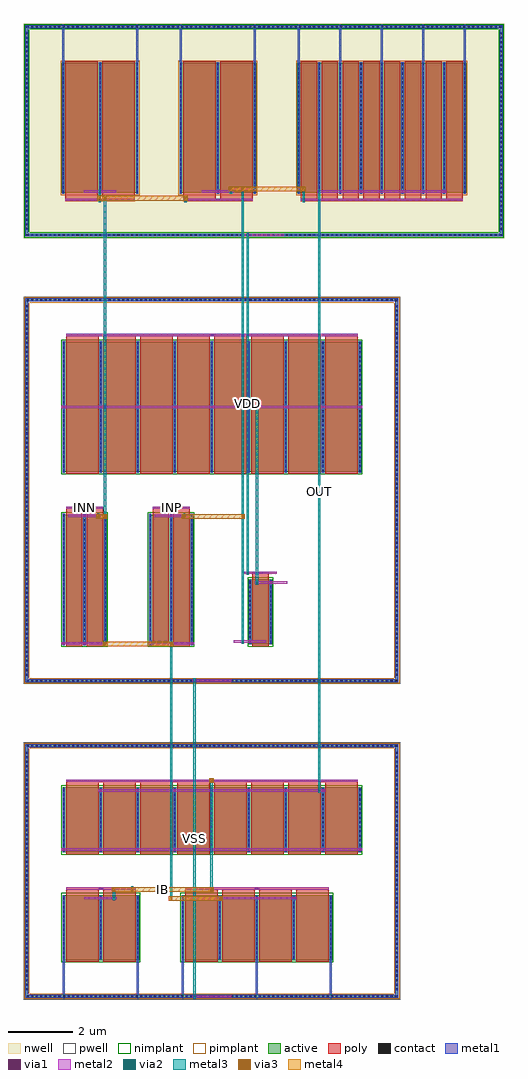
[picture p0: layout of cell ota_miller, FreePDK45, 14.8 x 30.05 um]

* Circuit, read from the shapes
.subckt ota_miller IB INN INP OUT VDD VSS
M1 IB IB VSS VSS nfet w=2u l=1u m=2
M2 OUT IB VSS VSS nfet w=2u l=1u m=8
M3 n1 INN n2 VSS nfet w=4u l=0.5u m=2
M4 n3 OUT n3 VSS nfet w=4u l=1u m=8
M5 n4 INP n2 VSS nfet w=4u l=0.5u m=2
M6 n2 IB VSS VSS nfet w=2u l=1u m=4
M7 n3 VDD n4 VSS nfet w=2u l=0.5u
M8 n1 n1 VDD VDD pfet w=4u l=1u m=2
M9 n4 n1 VDD VDD pfet w=4u l=1u m=2
M10 OUT n4 VDD VDD pfet w=4u l=0.5u m=8
.ends

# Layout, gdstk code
import gdstk
lib = gdstk.Library(unit=1e-6, precision=5e-10)
def R(c, l, rs):  # rectangles x0, y0, x1, y1
    for r in rs: c.add(gdstk.rectangle(r[:2], r[2:], *l))
def A(c, l, x, y, w, h, nx, ny, dx, dy):  # array of equal rectangles
    R(c, l, [(x+i*dx, y+j*dy, x+i*dx+w, y+j*dy+h) for i in range(nx) for j in range(ny)])
active = (1, 0)
pwell = (2, 0)
nwell = (3, 0)
nimplant = (4, 0)
pimplant = (5, 0)
poly = (9, 0)
contact = (10, 0)
metal1 = (11, 0)
via1 = (12, 0)
metal2 = (13, 0)
via2 = (14, 0)
metal3 = (15, 0)
via3 = (16, 0)
metal4 = (17, 0)

ota_miller = lib.new_cell('ota_miller')
R(ota_miller, active, [(-1.09,-1.09,10.395,-1), (-1.09,-1,-1,6.625), (10.305,-1,10.395,6.625), (0.055,0.07,2.41,2.07), (3.72,0.07,8.355,2.07), (0.055,3.385,9.25,5.385), (-1.09,6.625,10.395,6.715), (-1.09,8.625,10.395,8.715), (-1.09,8.715,-1,20.345), (10.305,8.715,10.395,20.345), (0.055,9.785,1.41,13.785), (2.72,9.785,4.075,13.785), (5.79,9.785,6.505,11.785), (0.055,15.1,9.25,19.1), (-1.09,20.345,10.395,20.435), (-1.09,22.345,13.605,22.435), (-1.09,22.435,-1,28.755), (13.515,22.435,13.605,28.755), (0.035,23.685,2.39,27.685), (3.66,23.685,6.015,27.685), (7.285,23.685,12.48,27.685), (-1.09,28.755,13.605,28.845)])
R(ota_miller, pwell, [(-1.145,-1.145,10.45,6.77), (0,0.015,2.465,2.125), (3.665,0.015,8.41,2.125), (0,3.33,9.305,5.44), (-1.145,8.57,10.45,20.49), (0,9.73,1.465,13.84), (2.665,9.73,4.13,13.84), (5.735,9.73,6.56,11.84), (0,15.045,9.305,19.155)])
R(ota_miller, nwell, [(-1.145,22.29,13.66,28.9)])
R(ota_miller, nimplant, [(0.02,0,2.445,2.14), (3.685,0,8.39,2.14), (0.02,3.315,9.285,5.455), (0.02,9.715,1.445,13.855), (2.685,9.715,4.11,13.855), (5.755,9.715,6.54,11.855), (0.02,15.03,9.285,19.17), (-1.125,22.31,13.64,22.47), (-1.125,22.4,-0.965,28.79), (13.48,22.4,13.64,28.79), (-1.125,28.72,13.64,28.88)])
R(ota_miller, pimplant, [(-1.125,-1.125,10.43,-0.965), (-1.125,-1.035,-0.965,6.66), (10.27,-1.035,10.43,6.66), (-1.125,6.59,10.43,6.75), (-1.125,8.59,10.43,8.75), (-1.125,8.68,-0.965,20.38), (10.27,8.68,10.43,20.38), (-1.125,20.31,10.43,20.47), (0,23.615,2.425,27.755), (3.625,23.615,6.05,27.755), (7.25,23.615,12.515,27.755)])
A(ota_miller, poly, 3.83, 0.015, 1, 2.11, 4, 1, 1.14, 0)
A(ota_miller, poly, 3.83, 0.015, 1, 2.265, 4, 1, 1.14, 0)
A(ota_miller, poly, 0.165, 3.33, 1, 2.11, 8, 1, 1.14, 0)
A(ota_miller, poly, 0.165, 3.33, 1, 2.26, 8, 1, 1.14, 0)
A(ota_miller, poly, 0.165, 15.045, 1, 4.11, 8, 1, 1.14, 0)
A(ota_miller, poly, 0.165, 15.045, 1, 4.265, 8, 1, 1.14, 0)
A(ota_miller, poly, 7.395, 23.475, 0.5, 4.265, 8, 1, 0.64, 0)
A(ota_miller, poly, 7.395, 23.63, 0.5, 4.11, 8, 1, 0.64, 0)
R(ota_miller, poly, [(0.165,0.015,1.165,2.125), (0.165,0.015,1.165,2.28), (1.305,0.015,2.305,2.125), (1.305,0.015,2.305,2.28), (0.165,2.24,2.305,2.315), (1.195,2.24,1.27,2.315), (3.83,2.24,8.25,2.315), (6,2.24,6.075,2.315), (0.165,5.55,9.145,5.625), (4.615,5.55,4.69,5.625), (0.165,9.73,0.665,13.84), (0.165,9.73,0.665,13.99), (0.805,9.73,1.305,13.84), (0.805,9.73,1.305,13.99), (2.83,9.73,3.33,13.84), (2.83,9.73,3.33,13.99), (3.47,9.73,3.97,13.84), (3.47,9.73,3.97,13.99), (5.9,9.73,6.4,11.84), (5.9,9.73,6.4,11.99), (5.9,11.95,6.4,12.025), (6.11,11.95,6.185,12.025), (0.165,13.95,1.305,14.025), (0.695,13.95,0.77,14.025), (2.83,13.95,3.97,14.025), (3.36,13.95,3.435,14.025), (0.165,19.27,9.145,19.345), (4.615,19.27,4.69,19.345), (0.145,23.435,2.285,23.51), (1.175,23.435,1.25,23.51), (3.77,23.435,5.91,23.51), (4.8,23.435,4.875,23.51), (7.395,23.435,12.375,23.51), (9.845,23.435,9.92,23.51), (0.145,23.475,1.145,27.74), (1.285,23.475,2.285,27.74), (3.77,23.475,4.77,27.74), (4.91,23.475,5.91,27.74), (0.145,23.63,1.145,27.74), (1.285,23.63,2.285,27.74), (3.77,23.63,4.77,27.74), (4.91,23.63,5.91,27.74)])
A(ota_miller, contact, -1.05, -1.08, 0.065, 0.065, 82, 2, 0.14, 7.715)
A(ota_miller, contact, -1.08, -0.86, 0.065, 0.065, 1, 53, 0, 0.14)
A(ota_miller, contact, 10.315, -0.86, 0.065, 0.065, 1, 53, 0, 0.14)
A(ota_miller, contact, 0.06, 0.125, 0.065, 0.065, 3, 14, 1.14, 0.14)
A(ota_miller, contact, 3.725, 0.125, 0.065, 0.065, 5, 14, 1.14, 0.14)
A(ota_miller, contact, 0.06, 3.44, 0.065, 0.065, 9, 14, 1.14, 0.14)
A(ota_miller, contact, -1.05, 8.635, 0.065, 0.065, 82, 2, 0.14, 11.72)
A(ota_miller, contact, -1.08, 8.825, 0.065, 0.065, 1, 82, 0, 0.14)
A(ota_miller, contact, 10.315, 8.825, 0.065, 0.065, 1, 82, 0, 0.14)
A(ota_miller, contact, 0.06, 9.79, 0.065, 0.065, 3, 29, 0.64, 0.14)
A(ota_miller, contact, 2.725, 9.79, 0.065, 0.065, 3, 29, 0.64, 0.14)
A(ota_miller, contact, 5.795, 9.84, 0.065, 0.065, 1, 14, 0, 0.14)
A(ota_miller, contact, 6.435, 9.84, 0.065, 0.065, 1, 14, 0, 0.14)
A(ota_miller, contact, 0.06, 15.105, 0.065, 0.065, 9, 29, 1.14, 0.14)
A(ota_miller, contact, -1.055, 22.355, 0.065, 0.065, 105, 2, 0.14, 6.41)
A(ota_miller, contact, -1.08, 22.55, 0.065, 0.065, 1, 44, 0, 0.14)
A(ota_miller, contact, 13.525, 22.55, 0.065, 0.065, 1, 44, 0, 0.14)
A(ota_miller, contact, 0.04, 23.69, 0.065, 0.065, 3, 29, 1.14, 0.14)
A(ota_miller, contact, 3.665, 23.69, 0.065, 0.065, 3, 29, 1.14, 0.14)
A(ota_miller, contact, 7.29, 23.69, 0.065, 0.065, 9, 29, 0.64, 0.14)
R(ota_miller, contact, [(1.2,2.245,1.265,2.31), (6.005,2.245,6.07,2.31), (4.62,5.555,4.685,5.62), (6.115,11.955,6.18,12.02), (0.7,13.955,0.765,14.02), (3.365,13.955,3.43,14.02), (4.62,19.275,4.685,19.34), (1.18,23.44,1.245,23.505), (4.805,23.44,4.87,23.505), (9.85,23.44,9.915,23.505)])
A(ota_miller, metal1, 3.725, -1.1, 0.065, 1.19, 3, 1, 2.28, 0)
A(ota_miller, metal1, 0.06, 0.09, 0.065, 1.955, 3, 1, 1.14, 0)
A(ota_miller, metal1, 3.725, 0.09, 0.065, 1.955, 5, 1, 1.14, 0)
A(ota_miller, metal1, 0.055, 3.405, 0.07, 0.14, 5, 1, 2.28, 0)
A(ota_miller, metal1, 0.06, 3.405, 0.065, 1.955, 9, 1, 1.14, 0)
A(ota_miller, metal1, 1.195, 5.22, 0.07, 0.14, 4, 1, 2.28, 0)
A(ota_miller, metal1, 0.06, 9.755, 0.065, 4.055, 3, 1, 0.64, 0)
A(ota_miller, metal1, 2.725, 9.755, 0.065, 4.055, 3, 1, 0.64, 0)
A(ota_miller, metal1, 0.06, 15.07, 0.065, 4.055, 9, 1, 1.14, 0)
A(ota_miller, metal1, 0.055, 17.03, 0.07, 0.14, 9, 1, 1.14, 0)
A(ota_miller, metal1, 0.04, 23.655, 0.065, 4.055, 3, 1, 1.14, 0)
A(ota_miller, metal1, 3.665, 23.655, 0.065, 4.055, 3, 1, 1.14, 0)
A(ota_miller, metal1, 7.29, 23.655, 0.065, 4.055, 9, 1, 0.64, 0)
A(ota_miller, metal1, 7.925, 23.655, 0.07, 0.14, 4, 1, 1.28, 0)
A(ota_miller, metal1, 7.29, 27.71, 0.065, 1.145, 5, 1, 1.28, 0)
R(ota_miller, metal1, [(0.06,-1.1,0.125,0.09), (2.34,-1.1,2.405,0.09), (-1.09,-1.09,10.395,-1), (4.58,-1.08,4.72,-1.01), (-1.09,-1,-1,6.625), (10.305,-1,10.395,6.625), (1.195,1.905,1.265,2.045), (4.865,1.905,4.935,2.045), (7.145,1.905,7.215,2.045), (1.165,2.245,1.305,2.315), (5.97,2.245,6.11,2.315), (4.585,5.555,4.725,5.625), (-1.09,6.625,10.395,6.715), (-1.09,8.625,10.395,8.715), (4.58,8.635,4.72,8.705), (-1.09,8.715,-1,20.345), (10.305,8.715,10.395,20.345), (0.055,9.755,0.125,9.895), (1.335,9.755,1.405,9.895), (2.725,9.755,2.795,9.895), (4,9.755,4.07,9.895), (5.795,9.805,5.865,9.945), (5.795,9.805,5.86,11.76), (6.435,9.805,6.5,11.76), (6.435,11.62,6.505,11.76), (6.08,11.955,6.22,12.025), (0.695,13.67,0.765,13.81), (3.365,13.67,3.435,13.81), (0.665,13.955,0.805,14.025), (3.33,13.955,3.47,14.025), (4.585,19.275,4.725,19.345), (-1.09,20.345,10.395,20.435), (-1.09,22.345,13.605,22.435), (6.19,22.355,6.33,22.425), (-1.09,22.435,-1,28.755), (13.515,22.435,13.605,28.755), (1.145,23.44,1.285,23.51), (4.77,23.44,4.91,23.51), (9.815,23.44,9.955,23.51), (1.175,23.655,1.245,23.795), (4.805,23.655,4.875,23.795), (0.04,27.71,0.105,28.855), (2.32,27.71,2.385,28.855), (3.665,27.71,3.73,28.855), (5.945,27.71,6.01,28.855), (-1.09,28.755,13.605,28.845)])
A(ota_miller, via1, 0.055, 3.44, 0.07, 0.07, 5, 1, 2.28, 0)
A(ota_miller, via1, 1.195, 5.255, 0.07, 0.07, 4, 1, 2.28, 0)
A(ota_miller, via1, 0.055, 17.065, 0.07, 0.07, 9, 1, 1.14, 0)
A(ota_miller, via1, 7.925, 23.69, 0.07, 0.07, 4, 1, 1.28, 0)
R(ota_miller, via1, [(4.615,-1.08,4.685,-1.01), (1.195,1.94,1.265,2.01), (4.865,1.94,4.935,2.01), (7.145,1.94,7.215,2.01), (1.2,2.245,1.27,2.315), (6.005,2.245,6.075,2.315), (4.62,5.555,4.69,5.625), (4.615,8.635,4.685,8.705), (0.055,9.79,0.125,9.86), (1.335,9.79,1.405,9.86), (2.725,9.79,2.795,9.86), (4,9.79,4.07,9.86), (5.795,9.84,5.865,9.91), (6.435,11.655,6.505,11.725), (6.115,11.955,6.185,12.025), (0.695,13.705,0.765,13.775), (3.365,13.705,3.435,13.775), (0.7,13.955,0.77,14.025), (3.365,13.955,3.435,14.025), (4.62,19.275,4.69,19.345), (6.225,22.355,6.295,22.425), (1.18,23.44,1.25,23.51), (4.805,23.44,4.875,23.51), (9.85,23.44,9.92,23.51), (1.175,23.69,1.245,23.76), (4.805,23.69,4.875,23.76)])
A(ota_miller, metal2, 4.58, 3.44, 0.14, 0.07, 3, 1, 2.28, 0)
A(ota_miller, metal2, 1.16, 5.255, 0.14, 0.07, 3, 1, 2.28, 0)
A(ota_miller, metal2, 0.02, 17.065, 0.14, 0.07, 9, 1, 1.14, 0)
A(ota_miller, metal2, 7.89, 23.69, 0.14, 0.07, 4, 1, 1.28, 0)
R(ota_miller, metal2, [(4.05,-1.08,4.19,-1.01), (4.05,-1.08,5.25,-1.01), (4.58,-1.08,4.72,-1.01), (0.73,1.94,1.73,2.01), (1.16,1.94,1.3,2.01), (1.57,1.94,1.71,2.01), (4.83,1.94,7.25,2.01), (4.83,1.94,4.97,2.01), (4.85,1.94,4.99,2.01), (7.11,1.94,7.25,2.01), (0.165,2.24,2.305,2.31), (2.13,2.24,2.27,2.31), (3.83,2.24,8.25,2.31), (4.57,2.24,4.71,2.31), (1.165,2.245,1.305,2.315), (5.97,2.245,6.11,2.315), (0.02,3.44,9.28,3.51), (0.02,3.44,0.16,3.51), (2.3,3.44,2.44,3.51), (4.05,3.44,4.19,3.51), (1.16,5.255,8.14,5.325), (7.89,5.255,8.03,5.325), (8,5.255,8.14,5.325), (0.165,5.555,9.145,5.625), (4.57,5.555,4.71,5.625), (4.585,5.555,4.725,5.625), (4.05,8.635,4.19,8.705), (4.05,8.635,5.25,8.705), (4.58,8.635,4.72,8.705), (0.02,9.79,0.16,9.86), (0.02,9.79,1.44,9.86), (1.29,9.79,1.43,9.86), (1.3,9.79,1.44,9.86), (2.69,9.79,2.83,9.86), (2.69,9.79,4.105,9.86), (3.33,9.79,3.47,9.86), (3.965,9.79,4.105,9.86), (5.33,9.84,6.33,9.91), (5.53,9.84,5.67,9.91), (5.76,9.84,5.9,9.91), (5.97,11.655,6.97,11.725), (5.97,11.655,6.11,11.725), (6.4,11.655,6.54,11.725), (6.08,11.955,6.22,12.025), (5.65,11.96,6.65,12.03), (5.69,11.96,5.83,12.03), (0.23,13.705,1.23,13.775), (0.66,13.705,0.8,13.775), (1.09,13.705,1.23,13.775), (2.9,13.705,3.9,13.775), (3.33,13.705,3.47,13.775), (3.73,13.705,3.87,13.775), (0.665,13.955,0.805,14.025), (3.33,13.955,3.47,14.025), (0.165,13.96,1.305,14.03), (0.165,13.96,1.305,14.03), (2.83,13.96,3.97,14.03), (2.83,13.96,3.97,14.03), (0.02,17.06,9.28,17.13), (5.97,17.06,6.11,17.13), (0.165,19.275,9.145,19.345), (4.585,19.275,4.725,19.345), (7.89,19.275,8.03,19.345), (5.66,22.355,6.86,22.425), (5.69,22.355,5.83,22.425), (6.19,22.355,6.33,22.425), (0.145,23.44,2.285,23.51), (1.13,23.44,1.27,23.51), (1.145,23.44,1.285,23.51), (3.77,23.44,3.91,23.51), (3.77,23.44,5.91,23.51), (4.77,23.44,4.91,23.51), (7.395,23.44,12.375,23.51), (7.41,23.44,7.55,23.51), (9.815,23.44,9.955,23.51), (0.71,23.69,1.71,23.76), (1.13,23.69,1.27,23.76), (1.14,23.69,1.28,23.76), (4.34,23.69,5.34,23.76), (4.77,23.69,4.91,23.76), (5.17,23.69,5.31,23.76), (7.89,23.69,8.03,23.76), (7.89,23.69,11.87,23.76)])
R(ota_miller, via2, [(4.085,-1.08,4.155,-1.01), (1.605,1.94,1.675,2.01), (4.885,1.94,4.955,2.01), (2.165,2.24,2.235,2.31), (4.605,2.24,4.675,2.31), (4.085,3.44,4.155,3.51), (7.925,5.255,7.995,5.325), (4.605,5.555,4.675,5.625), (4.085,8.635,4.155,8.705), (1.325,9.79,1.395,9.86), (3.365,9.79,3.435,9.86), (5.565,9.84,5.635,9.91), (6.005,11.655,6.075,11.725), (5.725,11.96,5.795,12.03), (1.125,13.705,1.195,13.775), (3.765,13.705,3.835,13.775), (6.005,17.06,6.075,17.13), (7.925,19.275,7.995,19.345), (5.725,22.355,5.795,22.425), (1.165,23.44,1.235,23.51), (3.805,23.44,3.875,23.51), (7.445,23.44,7.515,23.51), (1.165,23.69,1.235,23.76), (5.205,23.69,5.275,23.76), (7.925,23.69,7.995,23.76)])
R(ota_miller, metal3, [(4.085,-1.115,4.155,-0.975), (4.085,-1.045,4.155,8.67), (3.365,1.89,3.435,2.03), (4.885,1.89,4.955,2.03), (1.605,1.905,1.675,2.045), (4.885,1.905,4.955,2.045), (3.365,1.96,3.435,9.8), (4.885,1.96,4.955,1.975), (1.605,1.975,1.675,2.24), (1.605,2.17,1.675,2.31), (2.165,2.17,2.235,2.31), (4.605,2.17,4.675,2.31), (4.605,2.17,4.675,2.31), (2.165,2.205,2.235,2.345), (4.605,2.205,4.675,2.345), (2.165,2.24,2.235,2.275), (4.605,2.24,4.675,2.275), (4.605,2.24,4.675,5.6), (4.085,3.405,4.155,3.545), (7.925,5.22,7.995,5.36), (7.925,5.29,7.995,23.725), (4.605,5.52,4.675,5.66), (4.605,5.53,4.675,5.67), (4.605,5.53,4.675,5.67), (4.605,5.59,4.675,5.6), (4.085,8.6,4.155,8.74), (1.325,9.73,1.395,9.87), (3.365,9.73,3.435,9.87), (3.365,9.73,3.435,9.87), (1.325,9.755,1.395,9.895), (3.365,9.755,3.435,9.895), (1.325,9.8,1.395,9.825), (3.365,9.8,3.435,9.825), (5.565,9.805,5.635,9.945), (5.565,9.875,5.635,13.72), (6.005,11.62,6.075,11.76), (6.005,11.69,6.075,17.095), (5.725,11.925,5.795,12.065), (5.725,11.995,5.795,22.39), (1.125,13.65,1.195,13.79), (1.325,13.65,1.395,13.79), (3.765,13.65,3.835,13.79), (5.565,13.65,5.635,13.79), (5.565,13.65,5.635,13.79), (1.125,13.67,1.195,13.81), (3.765,13.67,3.835,13.81), (1.125,13.72,1.195,13.74), (1.325,13.72,1.395,23.52), (3.765,13.72,3.835,13.74), (5.565,13.72,5.635,23.8), (6.005,17.025,6.075,17.165), (7.925,19.24,7.995,19.38), (5.725,22.32,5.795,22.46), (1.165,23.405,1.235,23.545), (3.805,23.405,3.875,23.545), (7.445,23.405,7.515,23.545), (1.165,23.45,1.235,23.59), (1.165,23.45,1.235,23.59), (1.325,23.45,1.395,23.59), (3.805,23.45,3.875,23.59), (1.165,23.475,1.235,23.52), (3.805,23.475,3.875,23.52), (7.445,23.475,7.515,23.8), (1.165,23.52,1.235,23.725), (1.165,23.655,1.235,23.795), (5.205,23.655,5.275,23.795), (7.925,23.655,7.995,23.795), (5.205,23.725,5.275,23.8), (5.205,23.73,5.275,23.87), (5.565,23.73,5.635,23.87), (7.445,23.73,7.515,23.87)])
R(ota_miller, via3, [(3.365,1.925,3.435,1.995), (4.885,1.925,4.955,1.995), (1.605,2.205,1.675,2.275), (2.165,2.205,2.235,2.275), (4.605,2.205,4.675,2.275), (4.605,2.205,4.675,2.275), (4.605,5.565,4.675,5.635), (4.605,5.565,4.675,5.635), (1.325,9.765,1.395,9.835), (3.365,9.765,3.435,9.835), (3.365,9.765,3.435,9.835), (1.125,13.685,1.195,13.755), (1.325,13.685,1.395,13.755), (3.765,13.685,3.835,13.755), (5.565,13.685,5.635,13.755), (5.565,13.685,5.635,13.755), (1.165,23.485,1.235,23.555), (1.165,23.485,1.235,23.555), (1.325,23.485,1.395,23.555), (3.805,23.485,3.875,23.555), (5.205,23.765,5.275,23.835), (5.565,23.765,5.635,23.835), (7.445,23.765,7.515,23.835)])
R(ota_miller, metal4, [(3.33,1.89,3.47,2.03), (3.4,1.89,4.92,2.03), (4.85,1.89,4.99,2.03), (1.57,2.17,1.71,2.31), (1.64,2.17,4.64,2.31), (2.13,2.17,2.27,2.31), (4.57,2.17,4.71,2.31), (4.57,2.17,4.71,2.31), (4.57,5.53,4.71,5.67), (4.57,5.53,4.71,5.67), (1.29,9.73,1.43,9.87), (1.36,9.73,3.4,9.87), (3.33,9.73,3.47,9.87), (3.33,9.73,3.47,9.87), (1.09,13.65,1.23,13.79), (1.16,13.65,1.36,13.79), (1.29,13.65,1.43,13.79), (3.73,13.65,3.87,13.79), (3.8,13.65,5.6,13.79), (5.53,13.65,5.67,13.79), (5.53,13.65,5.67,13.79), (1.13,23.45,1.27,23.59), (1.13,23.45,1.27,23.59), (1.2,23.45,3.84,23.59), (1.29,23.45,1.43,23.59), (3.77,23.45,3.91,23.59), (5.17,23.73,5.31,23.87), (5.24,23.73,7.48,23.87), (5.53,23.73,5.67,23.87), (7.41,23.73,7.55,23.87)])
ota_miller.add(gdstk.Label('INP', (3.4,13.995), layer=13, texttype=1))
ota_miller.add(gdstk.Label('INN', (0.735,13.995), layer=13, texttype=1))
ota_miller.add(gdstk.Label('OUT', (7.96,14.507), layer=15, texttype=1))
ota_miller.add(gdstk.Label('VDD', (5.76,17.192), layer=15, texttype=1))
ota_miller.add(gdstk.Label('VSS', (4.12,3.812), layer=15, texttype=1))
ota_miller.add(gdstk.Label('IB', (3.14,2.24), layer=17, texttype=1))

lib.write_gds('ota_miller.gds')
